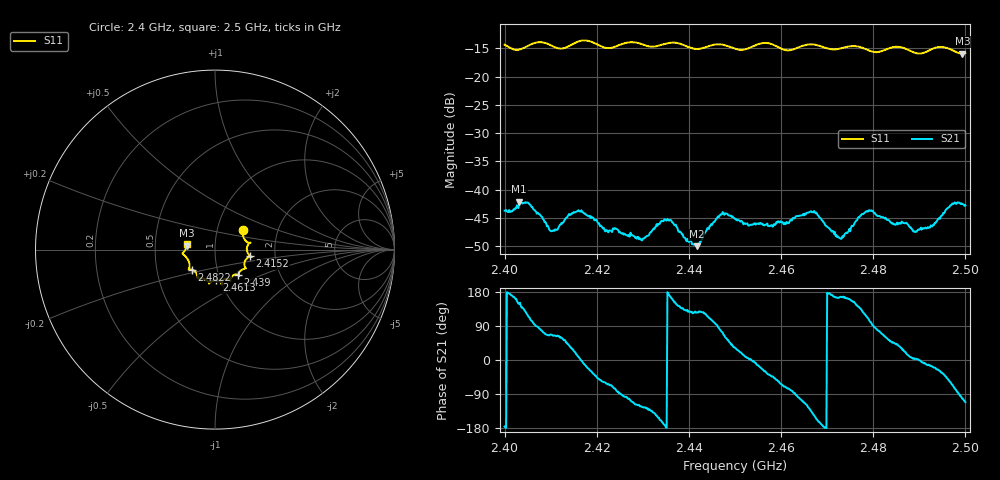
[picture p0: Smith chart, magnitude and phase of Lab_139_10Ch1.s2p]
# Hz S RI R 50
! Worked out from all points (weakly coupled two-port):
!   601 points, 2.4 GHz to 2.5 GHz, reference 50 ohm
!   highest |S21| = -42.18 dB at 2.4032 GHz (marker M1); lowest = -50.0 dB at 2.4417 GHz (marker M2)
!   lowest |S11| = -15.9 dB at 2.4993 GHz (marker M3), VSWR 1.38, Z = 36.3 + j1.58 ohm
!   |S11| at or under -10 dB: start of sweep to end of sweep
!   S12 and S22 are empty: the file has one direction only
!   S11 on the Smith chart (normalised r, x): 2.4 GHz: 1.33, +0.31; 2.4152 GHz: 1.48, -0.11; 2.439 GHz: 1.24, -0.36; 2.4613 GHz: 0.96, -0.34; 2.4822 GHz: 0.76, -0.17; 2.5 GHz: 0.73, +0.05
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2.4e9  0.1562 0.1115  -0.00648 -0.000484  0 0  0 0
2.403167e9  0.1633 0.0593  -0.00659 0.00413  0 0  0 0
2.4055e9  0.1876 0.0378  -0.00248 0.00696  0 0  0 0
2.410333e9  0.185 0.0288  0.00174 0.00391  0 0  0 0
2.415167e9  0.1946 -0.0361  0.0058 0.00235  0 0  0 0
2.416667e9  0.204 -0.0418  0.00654 -0.000231  0 0  0 0
2.429667e9  0.1628 -0.1071  -0.00194 -0.00299  0 0  0 0
2.433333e9  0.1331 -0.1326  -0.00438 -0.00231  0 0  0 0
2.435833e9  0.1344 -0.1472  -0.00526 0.000982  0 0  0 0
2.439e9  0.1282 -0.1394  -0.00252 0.00277  0 0  0 0
2.441667e9  0.1017 -0.1434  -0.00183 0.00256  0 0  0 0
2.446833e9  0.0853 -0.1732  0.0012 0.00589  0 0  0 0
2.45e9  0.0687 -0.1632  0.00468 0.00296  0 0  0 0
2.461333e9  0.008 -0.1708  0.00137 -0.00486  0 0  0 0
2.466667e9  -0.0331 -0.1905  -0.00462 -0.00427  0 0  0 0
2.472667e9  -0.0737 -0.1606  -0.00362 0.00093  0 0  0 0
2.478667e9  -0.0993 -0.1417  -0.0025 0.00593  0 0  0 0
2.482167e9  -0.1281 -0.1119  0.00222 0.00522  0 0  0 0
2.483333e9  -0.1395 -0.1102  0.00323 0.00428  0 0  0 0
2.489167e9  -0.1428 -0.0768  0.00424 0.000237  0 0  0 0
2.499333e9  -0.1588 0.0212  -0.00158 -0.00728  0 0  0 0
2.5e9  -0.1583 0.0332  -0.00263 -0.00674  0 0  0 0
